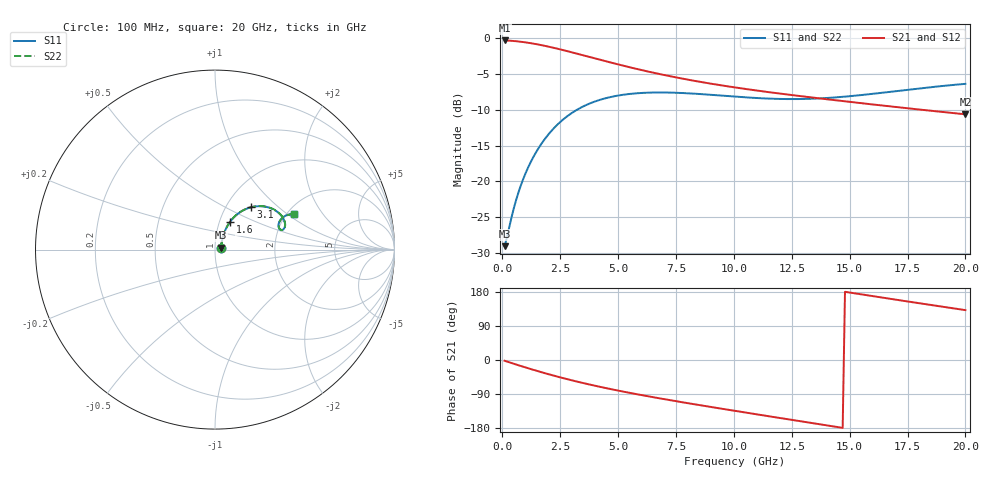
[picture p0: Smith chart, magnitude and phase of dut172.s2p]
! Touchstone file exported from HFSS 2024.1.0
!  File:  C:/UserFiles/LocalFiles/RDL_TSV_Batchsim/temp_RDL_TSV_172_1779436764.aedt
!  Generated:  04:15:22 PM May 22, 2026
!  Design:  RDL_TSV
!  Project:  temp_RDL_TSV_172_1779436764
!  Setup:  Setup1
!  Solution:  Sweep
! Variables:
!  dtsv = 10.33um
!  hbump = 3um
!  htsv = 53.63um
!  ldown = 233.42um
!  lrdl = 698.89um
!  p = 40
!  p1 = 53.75um
!  rhole = 10um
!  subl = 3495.82um
!  t = 450um
!  tdown = 3.58um
!  trdl = 2.83um
!  viad = 10um
!  wdown = 20.87um
!  wrdl = 11.28um
!  xbump = 18um
# GHz S MA R 50.000000
! Terminal data exported
! Port[1] = TM1_1_T1
! Port[2] = TM1_4_T1
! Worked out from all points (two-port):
!   200 points, 100 MHz to 20 GHz, reference 50 ohm
!   highest |S21| = -0.30 dB at 100 MHz (marker M1); lowest = -10.6 dB at 20 GHz (marker M2)
!   |S21| within 3 dB of the highest: start of sweep to 4.58 GHz
!   lowest |S11| = -29.1 dB at 100 MHz (marker M3), VSWR 1.07, Z = 53.5 + j1.15 ohm
!   |S11| at or under -10 dB: start of sweep to 3.221 GHz
!   |S22| runs from -29.1 to -6.4 dB; largest |S21 - S12| = 2.1e-13
!   S11 on the Smith chart (normalised r, x): 100 MHz: 1.07, +0.02; 1.6 GHz: 1.12, +0.35; 3.1 GHz: 1.30, +0.67; 20 GHz: 2.17, +1.11
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0.1  0.03521 17.8  0.9664 -2.0  0.9664 -2.0  0.03521 17.8
! Gamma 0 0 0 0
! Port Impedance 50 0 50 0
0.5  0.06506 52.6  0.9579 -10.0  0.9579 -10.0  0.06506 52.6
0.8  0.09355 59.7  0.9466 -15.8  0.9466 -15.8  0.09355 59.7
1.2  0.1335 62.3  0.9267 -23.3  0.9267 -23.3  0.1336 62.4
1.6  0.1741 61.7  0.9023 -30.6  0.9023 -30.6  0.1742 61.7
1.9  0.204 60.0  0.8817 -35.8  0.8817 -35.8  0.2041 60.1
2.3  0.242 57.0  0.8523 -42.6  0.8523 -42.6  0.2421 57.1
2.7  0.2768 53.5  0.8217 -49.0  0.8217 -49.0  0.277 53.6
3.1  0.3077 49.9  0.7909 -55.1  0.7909 -55.1  0.308 49.9
3.5  0.3344 46.2  0.7605 -61.0  0.7605 -61.0  0.3347 46.2
4.2  0.3708 40.0  0.7098 -70.6  0.7098 -70.6  0.3712 40.1
5.1  0.4005 33.1  0.6512 -81.9  0.6512 -81.9  0.401 33.1
5.9  0.4139 27.9  0.6059 -91.3  0.6059 -91.3  0.4145 28.0
6.8  0.4183 23.3  0.5623 -101.3  0.5623 -101.3  0.4191 23.4
8.4  0.4093 18.1  0.5009 -117.9  0.5009 -117.9  0.4102 18.1
10.1  0.3908 16.3  0.4523 -134.7  0.4523 -134.7  0.3918 16.3
11.7  0.3779 17.6  0.4166 -150.3  0.4166 -150.3  0.3789 17.6
13.4  0.3782 20.8  0.3853 -166.7  0.3853 -166.7  0.379 20.7
15  0.3938 23.8  0.3596 178.0  0.3596 178.0  0.3943 23.7
16.7  0.4217 25.5  0.335 162.0  0.335 162.0  0.422 25.4
18.3  0.4516 25.5  0.3141 147.1  0.3141 147.1  0.4517 25.4
20  0.4805 24.2  0.2943 131.7  0.2943 131.7  0.4804 24.1
